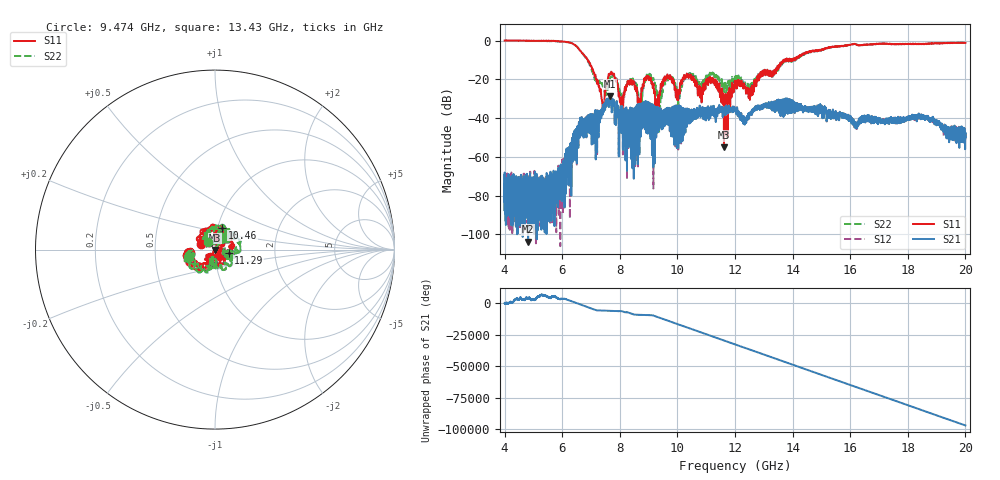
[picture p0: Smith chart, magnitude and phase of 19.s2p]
[Version] 2.0
! Rohde & Schwarz Vector Network Analyzer
! Rohde-Schwarz,ZNL20-2Port,1323001220200009,1.71.1.10-23.02.1.238
! Port Assignments:
! Nominal Port -> Actual Test Port
!  1 -> 1
!  2 -> 2
! Created: GMT+2 2025-01-16 20:27:10
# Hz S RI R 50
[Number of Ports] 2
[Two-Port Data Order] 21_12
! freq[Hz]  S11[Re]  S11[Im]  S21[Re]  S21[Im]  S12[Re]  S12[Im]  S22[Re]  S22[Im]
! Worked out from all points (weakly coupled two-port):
!   16001 points, 4 GHz to 20 GHz, reference 50 ohm
!   highest |S21| = -28.66 dB at 7.653 GHz (marker M1); lowest = -103.7 dB at 4.817 GHz (marker M2)
!   lowest |S11| = -55.0 dB at 11.62 GHz (marker M3), VSWR 1.00, Z = 50.1 - j0.131 ohm
!   |S11| at or under -10 dB: 6.887 GHz to 13.7 GHz (6.814 GHz wide, 66.2 % of centre); 13.71494 GHz to 13.74358 GHz (28.64 MHz wide, 0.209 % of centre); 13.9433 GHz to 13.96741 GHz (24.12 MHz wide, 0.173 % of centre) (the widest 3 of 9)
!   |S22| runs from -48.1 to 0.0 dB; largest |S21 - S12| = 0.0029
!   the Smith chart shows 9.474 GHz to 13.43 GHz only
!   S11 on the Smith chart (normalised r, x): 9.474 GHz: 0.85, +0.06; 10.46 GHz: 1.05, +0.26; 11.29 GHz: 1.16, -0.04; 13.43 GHz: 0.72, -0.07
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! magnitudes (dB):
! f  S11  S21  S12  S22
! 4 GHz  0.0  -69.3  -83.5  -0.2
! 4.817 GHz  -0.2  -103.7  -89.3  -0.2
! 5.768 GHz  -0.3  -77.5  -82.0  -0.4
! 6.667 GHz  -6.0  -40.6  -40.6  -6.0
! 7.395 GHz  -33.1  -37.7  -37.7  -23.1
! 7.653 GHz  -17.5  -28.7  -28.7  -19.7
! 8.044 GHz  -37.5  -35.5  -35.3  -30.2
! 8.43 GHz  -22.8  -41.2  -41.2  -21.6
! 8.718 GHz  -34.0  -39.5  -39.5  -38.0
! 9.006 GHz  -20.3  -34.3  -34.3  -18.8
! 9.334 GHz  -28.2  -34.5  -34.6  -32.2
! 9.474 GHz  -21.5  -36.2  -36.3  -25.0
! 9.764 GHz  -19.6  -35.1  -35.0  -19.8
! 10.01 GHz  -26.0  -33.6  -33.5  -27.2
! 10.46 GHz  -17.7  -41.7  -41.8  -17.3
! 11.29 GHz  -22.3  -39.1  -39.1  -18.9
! 11.62 GHz  -55.0  -35.3  -35.2  -24.2
! 12 GHz  -21.4  -36.2  -36.3  -19.0
! 13.43 GHz  -15.5  -33.1  -33.1  -15.6
! 14.67 GHz  -5.5  -34.5  -34.4  -5.8
! 17.33 GHz  -1.8  -41.6  -41.2  -1.8
! 20 GHz  -1.2  -47.6  -50.8  -1.1
